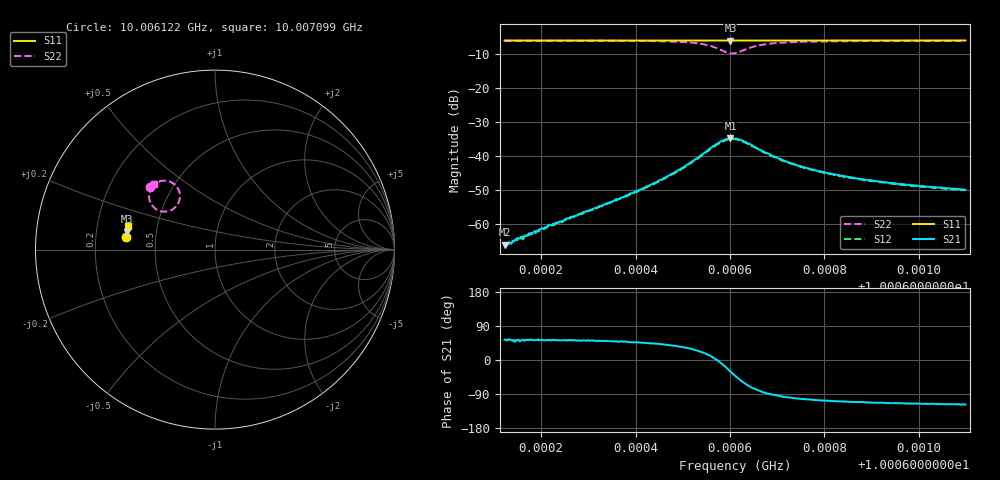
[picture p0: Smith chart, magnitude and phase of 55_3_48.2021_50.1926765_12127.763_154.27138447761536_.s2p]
#  HZ  S  RI  R  50.00
! Rohde & Schwarz Vector Network Analyzer
! Rohde-Schwarz,ZNB20-2Port,1311601062101988,3.16
! Created: UTC 3/20/2024, 11:38:32 AM
! freq[Hz]  re:S11  im:S11  re:S21  im:S21  re:S12  im:S12  re:S22  im:S22
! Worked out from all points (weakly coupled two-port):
!   401 points, 10.006122 GHz to 10.007099 GHz, reference 50 ohm
!   highest |S21| = -34.77 dB at 10.006601 GHz (marker M1); lowest = -66.1 dB at 10.006122 GHz (marker M2)
!   lowest |S11| = -6.0 dB at 10.006601 GHz (marker M3), VSWR 3.01, Z = 16.8 + j4.5 ohm
!   |S11| at or under -10 dB: nowhere
!   |S22| runs from -9.8 to -6.0 dB; largest |S21 - S12| = 0.0013
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1.00061224e10  -0.4968 0.0702  0.000292 0.000397  0.000275 0.000382  -0.3594 0.3462
1.0006137e10  -0.4966 0.0712  0.00031 0.000407  0.000307 0.000467  -0.3586 0.3472
1.00061541e10  -0.4965 0.0725  0.000396 0.000459  0.000343 0.000476  -0.3573 0.3485
1.00061712e10  -0.4965 0.0736  0.000414 0.000547  0.000387 0.000574  -0.3558 0.3499
1.00062005e10  -0.4962 0.0754  0.00053 0.00068  0.000454 0.000679  -0.3536 0.3521
1.00062347e10  -0.496 0.0777  0.00066 0.000828  0.000579 0.000842  -0.3505 0.3551
1.0006286e10  -0.4955 0.081  0.000916 0.00114  0.000819 0.00114  -0.3452 0.3597
1.00063714e10  -0.4945 0.0865  0.00159 0.00184  0.00151 0.00188  -0.3328 0.3689
1.00064495e10  -0.4937 0.0918  0.0032 0.00291  0.00301 0.00299  -0.3122 0.3792
1.00064984e10  -0.4931 0.0949  0.00548 0.00377  0.00521 0.00389  -0.2864 0.3841
1.00065472e10  -0.4921 0.0983  0.0108 0.00337  0.0104 0.00374  -0.235 0.3705
1.00065643e10  -0.4915 0.0992  0.0139 0.0016  0.0133 0.00213  -0.2112 0.3475
1.00065814e10  -0.491 0.1  0.0162 -0.00256  0.0159 -0.00158  -0.1956 0.3052
1.00066009e10  -0.4906 0.1005  0.0158 -0.00918  0.0157 -0.00804  -0.2141 0.2442
1.00066107e10  -0.4906 0.1009  0.0136 -0.0119  0.0139 -0.0109  -0.2397 0.2224
1.00066302e10  -0.491 0.1018  0.00805 -0.0143  0.00853 -0.0136  -0.2975 0.2131
1.00066644e10  -0.4912 0.1038  0.00172 -0.0121  0.00218 -0.0119  -0.3522 0.2487
1.00067132e10  -0.491 0.1073  -0.00108 -0.00849  -0.000585 -0.00846  -0.3674 0.2916
1.00067742e10  -0.4902 0.1113  -0.00162 -0.00611  -0.00133 -0.00607  -0.365 0.3192
1.0006845e10  -0.4896 0.1159  -0.0017 -0.00471  -0.00146 -0.00468  -0.3589 0.3363
1.00069378e10  -0.4883 0.122  -0.00162 -0.00371  -0.00139 -0.00369  -0.3514 0.3498
1.00070989e10  -0.486 0.1321  -0.00146 -0.00283  -0.0013 -0.00286  -0.3405 0.3646
